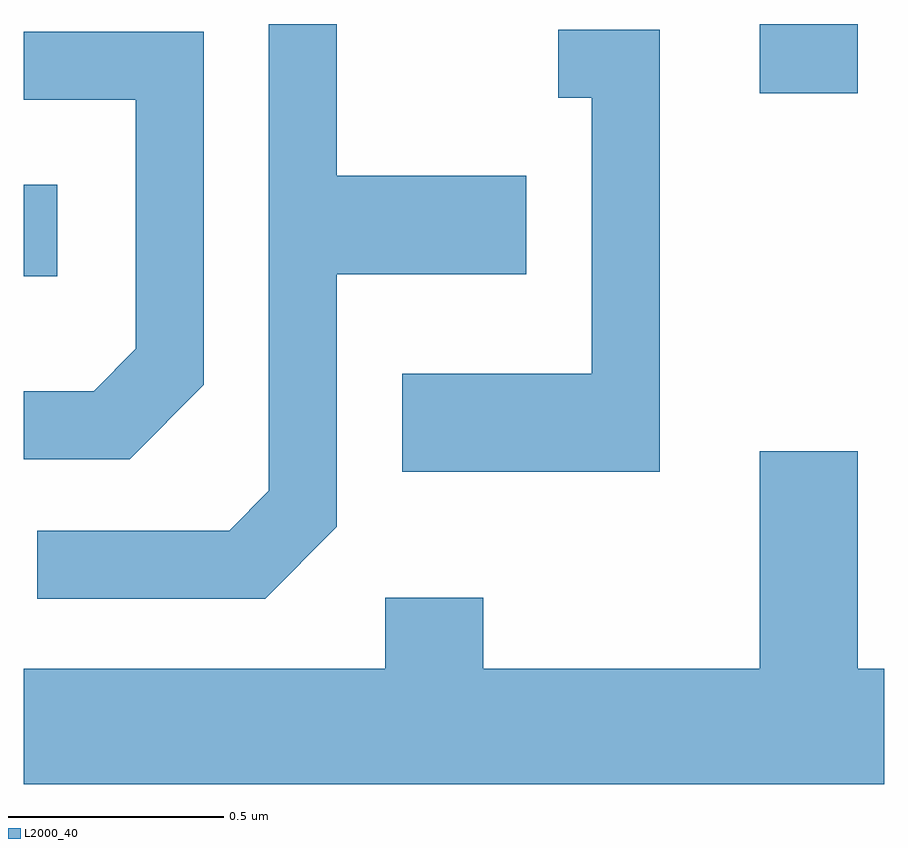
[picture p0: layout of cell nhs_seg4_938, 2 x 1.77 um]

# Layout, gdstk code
import gdstk
lib = gdstk.Library(unit=1e-6, precision=1e-09)
def R(c, l, rs):  # rectangles x0, y0, x1, y1
    for r in rs: c.add(gdstk.rectangle(r[:2], r[2:], *l))
def P(c, l, *ps):  # polygons
    for p in ps: c.add(gdstk.Polygon(p, *l))
L2000_40 = (2000, 40)

nhs_seg4_938 = lib.new_cell('nhs_seg4_938')
R(nhs_seg4_938, L2000_40, [(191.611,1371.396,191.689,1371.609), (193.321,1371.821,193.549,1371.982)])
P(nhs_seg4_938, L2000_40, [(192.339,1370.814),(192.339,1371.401),(192.779,1371.401),(192.779,1371.629),(192.339,1371.629),(192.339,1371.982),(192.181,1371.982),(192.181,1370.897),(192.089,1370.804),(191.643,1370.804),(191.643,1370.646),(192.172,1370.646)],
  [(193.089,1371.969),(192.853,1371.969),(192.853,1371.811),(192.931,1371.811),(192.931,1371.169),(192.491,1371.169),(192.491,1370.941),(193.089,1370.941)],
  [(192.029,1371.144),(192.029,1371.964),(191.611,1371.964),(191.611,1371.806),(191.871,1371.806),(191.871,1371.227),(191.774,1371.129),(191.611,1371.129),(191.611,1370.971),(191.857,1370.971)],
  [(193.611,1370.484),(193.549,1370.484),(193.549,1370.989),(193.321,1370.989),(193.321,1370.484),(192.679,1370.484),(192.679,1370.649),(192.451,1370.649),(192.451,1370.484),(191.611,1370.484),(191.611,1370.216),(193.611,1370.216)])

lib.write_gds('nhs_seg4_938.gds')
